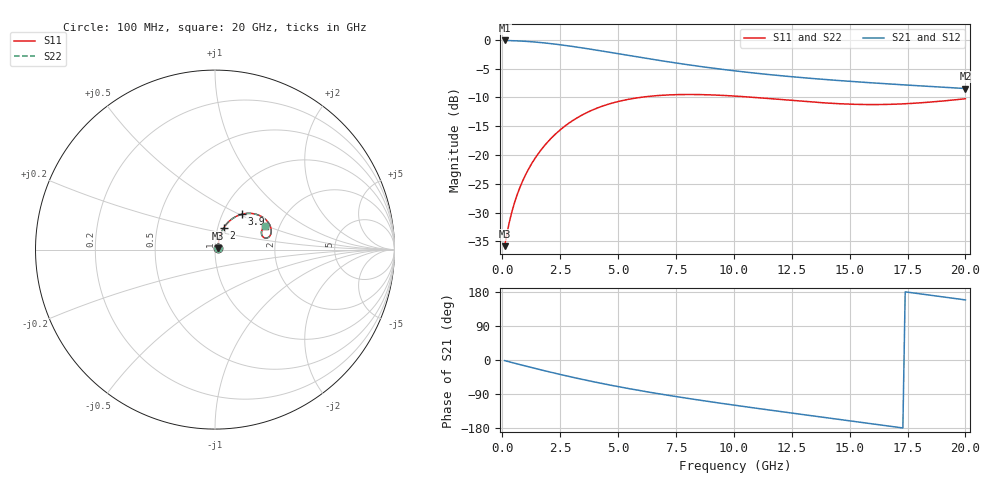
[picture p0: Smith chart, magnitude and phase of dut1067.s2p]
! Touchstone file exported from HFSS 2024.1.0
!  File:  C:/UserFiles/LocalFiles/RDL_TSV_Batchsim/temp_RDL_TSV_1067_1780092409.aedt
!  Generated:  06:23:12 AM May 30, 2026
!  Design:  RDL_TSV
!  Project:  temp_RDL_TSV_1067_1780092409
!  Setup:  Setup1
!  Solution:  Sweep
! Variables:
!  dtsv = 5.25um
!  hbump = 3um
!  htsv = 58.67um
!  ldown = 414.89um
!  lrdl = 477.67um
!  p = 40
!  p1 = 50.41um
!  rhole = 10um
!  subl = 3155.35um
!  t = 450um
!  tdown = 4.26um
!  trdl = 4.11um
!  viad = 10um
!  wdown = 19.41um
!  wrdl = 22.83um
!  xbump = 18um
# GHz S MA R 50.000000
! Terminal data exported
! Port[1] = TM1_1_T1
! Port[2] = TM1_4_T1
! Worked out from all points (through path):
!   200 points, 100 MHz to 20 GHz, reference 50 ohm
!   highest |S21| = -0.13 dB at 100 MHz (marker M1); lowest = -8.5 dB at 20 GHz (marker M2)
!   group delay of S21, straight-line fit = 26.5 ps
!   lowest |S11| = -35.8 dB at 100 MHz (marker M3), VSWR 1.03, Z = 51.5 + j0.732 ohm
!   |S11| at or under -10 dB: start of sweep to 5.976 GHz; 10.84 GHz to end of sweep
!   |S22| runs from -35.8 to -9.5 dB; largest |S21 - S12| = 1.1e-14
!   S11 on the Smith chart (normalised r, x): 100 MHz: 1.03, +0.01; 2 GHz: 1.07, +0.27; 3.9 GHz: 1.23, +0.51; 20 GHz: 1.68, +0.49
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0.1  0.01616 26.1  0.9854 -1.6  0.9854 -1.6  0.01616 26.1
! Gamma 0 0 0 0
! Port Impedance 50 0 50 0
0.3  0.0259 50.8  0.983 -4.9  0.983 -4.9  0.02591 50.8
0.4  0.03136 56.4  0.9815 -6.4  0.9815 -6.4  0.03136 56.4
0.6  0.04271 63.2  0.9781 -9.6  0.9781 -9.6  0.04271 63.2
0.8  0.0546 66.9  0.9738 -12.7  0.9738 -12.7  0.0546 66.8
1  0.06694 68.8  0.9686 -15.8  0.9686 -15.8  0.06693 68.8
1.3  0.08608 69.9  0.959 -20.4  0.959 -20.4  0.08607 69.9
2  0.1323 68.0  0.9297 -30.9  0.9297 -30.9  0.1322 68.0
2.7  0.1779 63.3  0.8932 -40.9  0.8932 -40.9  0.1777 63.3
3.5  0.2251 56.6  0.8466 -51.8  0.8466 -51.8  0.2249 56.5
3.9  0.2458 53.1  0.8225 -56.9  0.8225 -56.9  0.2455 53.0
4.5  0.2725 47.8  0.7862 -64.3  0.7862 -64.3  0.2722 47.8
5.2  0.297 42.0  0.7451 -72.5  0.7451 -72.5  0.2967 42.0
6.8  0.3286 30.6  0.6603 -89.5  0.6603 -89.5  0.3281 30.5
8.4  0.3344 21.9  0.5915 -104.9  0.5915 -104.9  0.3338 21.9
10.1  0.3238 15.9  0.535 -119.9  0.535 -119.9  0.3231 15.8
11.7  0.3064 13.0  0.4943 -133.4  0.4943 -133.4  0.3057 12.9
13.4  0.2877 12.9  0.4607 -147.4  0.4607 -147.4  0.2869 12.9
15  0.276 15.3  0.4356 -160.5  0.4356 -160.5  0.2751 15.3
16.7  0.2748 19.4  0.4132 -174.4  0.4132 -174.4  0.274 19.4
18.3  0.2857 23.1  0.3949 172.5  0.3949 172.5  0.285 23.1
20  0.3072 25.5  0.3771 158.6  0.3771 158.6  0.3065 25.6
